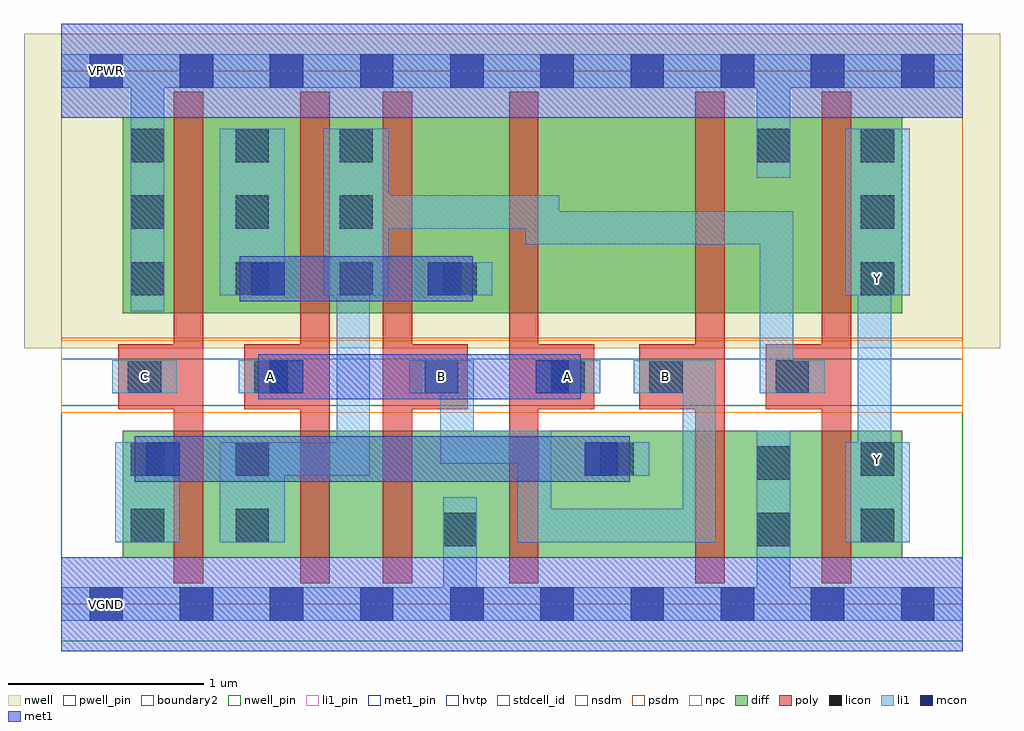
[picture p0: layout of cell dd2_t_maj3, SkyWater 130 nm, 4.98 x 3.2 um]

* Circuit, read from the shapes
.subckt dd2_t_maj3 A B C VGND VNB VPB VPWR Y
XM1 n1 C n2 VNB sky130_fd_pr__nfet_01v8 w=0.65 l=0.15
XM2 n3 A n1 VNB sky130_fd_pr__nfet_01v8 w=0.65 l=0.15
XM3 VGND B n3 VNB sky130_fd_pr__nfet_01v8 w=0.65 l=0.15
XM4 n2 A VGND VNB sky130_fd_pr__nfet_01v8 w=0.65 l=0.15
XM5 VGND B n2 VNB sky130_fd_pr__nfet_01v8 w=0.65 l=0.15
XM6 Y n1 VGND VNB sky130_fd_pr__nfet_01v8 w=0.65 l=0.15
XM7 n4 C VPWR VPB sky130_fd_pr__pfet_01v8_hvt w=1 l=0.15
XM8 n1 A n4 VPB sky130_fd_pr__pfet_01v8_hvt w=1 l=0.15
XM9 n4 B n1 VPB sky130_fd_pr__pfet_01v8_hvt w=1 l=0.15
XM10 n5 A n4 VPB sky130_fd_pr__pfet_01v8_hvt w=1 l=0.15
XM11 VPWR B n5 VPB sky130_fd_pr__pfet_01v8_hvt w=1 l=0.15
XM12 Y n1 VPWR VPB sky130_fd_pr__pfet_01v8_hvt w=1 l=0.15
.ends

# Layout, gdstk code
import gdstk
lib = gdstk.Library(unit=1e-6, precision=1e-09)
def R(c, l, rs):  # rectangles x0, y0, x1, y1
    for r in rs: c.add(gdstk.rectangle(r[:2], r[2:], *l))
def A(c, l, x, y, w, h, nx, ny, dx, dy):  # array of equal rectangles
    R(c, l, [(x+i*dx, y+j*dy, x+i*dx+w, y+j*dy+h) for i in range(nx) for j in range(ny)])
nwell_pin = (64, 16)
nwell = (64, 20)
diff = (65, 20)
poly = (66, 20)
licon = (66, 44)
li1_pin = (67, 16)
li1 = (67, 20)
mcon = (67, 44)
met1_pin = (68, 16)
met1 = (68, 20)
hvtp = (78, 44)
stdcell_id = (81, 4)
nsdm = (93, 44)
psdm = (94, 20)
npc = (95, 20)
pwell_pin = (122, 16)
boundary2 = (236, 0)

dd2_t_maj3 = lib.new_cell('dd2_t_maj3')
R(dd2_t_maj3, nwell_pin, [(0.145,2.635,0.315,2.805)])
R(dd2_t_maj3, nwell, [(-0.19,1.305,4.79,2.91)])
R(dd2_t_maj3, diff, [(0.315,0.235,0.97,0.885), (0.97,0.235,1.505,0.885), (1.505,0.235,2.035,0.885), (2.035,0.235,2.835,0.885), (2.835,0.235,3.63,0.885), (3.63,0.235,4.29,0.885), (0.315,1.485,0.97,2.485), (0.97,1.485,1.505,2.485), (1.505,1.485,2.035,2.485), (2.035,1.485,2.835,2.485), (2.835,1.485,3.63,2.485), (3.63,1.485,4.29,2.485)])
R(dd2_t_maj3, poly, [(0.575,0.105,0.725,2.615), (1.22,0.105,1.37,2.615), (1.64,0.105,1.79,2.615), (2.285,0.105,2.435,2.615), (3.235,0.105,3.385,2.615), (3.88,0.105,4.03,2.615), (0.29,0.995,0.725,1.325), (0.935,0.995,1.37,1.325), (1.64,0.995,2.075,1.325), (2.285,0.995,2.72,1.325), (2.95,0.995,3.385,1.325), (3.595,0.995,4.03,1.325)])
A(dd2_t_maj3, licon, 0.355, 1.575, 0.17, 0.17, 1, 3, 0, 0.34)
A(dd2_t_maj3, licon, 0.89, 1.575, 0.17, 0.17, 3, 1, 0.53, 0)
A(dd2_t_maj3, licon, 4.08, 1.575, 0.17, 0.17, 1, 3, 0, 0.34)
R(dd2_t_maj3, licon, [(1.95,0.295,2.12,0.465), (3.55,0.295,3.72,0.465), (0.355,0.315,0.525,0.485), (0.89,0.315,1.06,0.485), (4.08,0.315,4.25,0.485), (3.55,0.635,3.72,0.805), (0.355,0.655,0.525,0.825), (0.89,0.655,1.06,0.825), (2.75,0.655,2.92,0.825), (4.08,0.655,4.25,0.825), (0.34,1.075,0.51,1.245), (0.985,1.075,1.155,1.245), (1.855,1.075,2.025,1.245), (2.5,1.075,2.67,1.245), (3,1.075,3.17,1.245), (3.645,1.075,3.815,1.245), (0.89,1.915,1.06,2.085), (1.42,1.915,1.59,2.085), (0.89,2.255,1.06,2.425), (1.42,2.255,1.59,2.425), (3.55,2.255,3.72,2.425)])
R(dd2_t_maj3, li1_pin, [(4.08,0.655,4.25,0.825), (0.34,1.075,0.51,1.245), (0.985,1.075,1.155,1.245), (1.855,1.075,2.025,1.245), (2.5,1.075,2.67,1.245), (3,1.075,3.17,1.245), (4.08,1.575,4.25,1.745)])
A(dd2_t_maj3, li1, 0.81, 1.575, 0.33, 0.17, 3, 1, 0.53, 0)
R(dd2_t_maj3, li1, [(0,-0.085,4.6,0.085), (1.95,-0.085,2.12,0.545), (3.55,-0.085,3.72,0.545), (3.55,0.295,3.72,0.885), (0.275,0.315,0.605,0.825), (0.81,0.315,1.14,0.825), (2.33,0.315,2.5,0.885), (2.33,0.315,3.34,0.485), (3.17,0.315,3.34,1.245), (4,0.315,4.33,0.825), (0.275,0.655,0.605,0.825), (0.81,0.655,1.14,0.825), (0.97,0.655,1.575,0.825), (1.405,0.655,1.575,1.745), (2.67,0.655,3,0.825), (4,0.655,4.33,0.825), (4.065,0.655,4.235,1.745), (1.935,0.715,2.105,1.245), (1.935,0.715,2.5,0.885), (0.26,1.075,0.59,1.245), (0.905,1.075,1.235,1.245), (1.775,1.075,2.105,1.245), (2.42,1.075,2.75,1.245), (2.92,1.075,3.25,1.245), (3.08,1.075,3.34,1.245), (3.565,1.075,3.895,1.245), (3.565,1.075,3.735,2.005), (0.355,1.495,0.525,2.085), (0.81,1.575,1.14,2.085), (1.34,1.575,1.67,2.085), (1.5,1.575,1.67,2.085), (4,1.575,4.33,1.745), (4,1.575,4.33,2.085), (0.355,1.835,0.525,2.425), (2.37,1.835,3.735,2.005), (2.37,1.835,2.54,2.085), (0.81,1.915,1.14,2.425), (1.34,1.915,1.67,2.425), (1.5,1.915,2.54,2.085), (4,1.915,4.33,2.425), (0.355,2.085,0.525,2.175), (0.355,2.085,0.525,2.175), (0.355,2.085,0.525,2.175), (0.355,2.085,0.525,2.175), (0.355,2.175,0.525,2.805), (3.55,2.175,3.72,2.805), (0,2.635,4.6,2.805)])
A(dd2_t_maj3, mcon, 0.145, -0.085, 0.17, 0.17, 10, 2, 0.46, 2.72)
R(dd2_t_maj3, mcon, [(0.435,0.655,0.605,0.825), (2.67,0.655,2.84,0.825), (1.065,1.075,1.235,1.245), (2.42,1.075,2.59,1.245), (0.97,1.575,1.14,1.745), (1.87,1.575,2.04,1.745)])
R(dd2_t_maj3, met1_pin, [(0.145,-0.085,0.315,0.085), (0.145,2.635,0.315,2.805)])
R(dd2_t_maj3, met1, [(0,-0.24,4.6,0.24), (0.375,0.625,0.665,0.855), (0.405,0.625,2.87,0.855), (2.61,0.625,2.9,0.855), (1.005,1.045,1.295,1.275), (1.035,1.045,2.62,1.275), (2.36,1.045,2.65,1.275), (0.91,1.545,1.2,1.775), (0.94,1.545,2.07,1.775), (1.81,1.545,2.1,1.775), (0,2.48,4.6,2.96)])
R(dd2_t_maj3, hvtp, [(0,1.25,4.6,2.72)])
R(dd2_t_maj3, stdcell_id, [(0,0,4.6,2.72)])
R(dd2_t_maj3, nsdm, [(0,-0.19,4.6,1.015)])
R(dd2_t_maj3, psdm, [(0,1.355,4.6,2.91)])
R(dd2_t_maj3, npc, [(0,0.975,4.6,1.345)])
R(dd2_t_maj3, pwell_pin, [(0.145,-0.085,0.315,0.085)])
R(dd2_t_maj3, boundary2, [(0,0,4.6,2.72)])
dd2_t_maj3.add(gdstk.Label('A', (1.07,1.16), layer=67, texttype=5))
dd2_t_maj3.add(gdstk.Label('A', (2.585,1.16), layer=67, texttype=5))
dd2_t_maj3.add(gdstk.Label('B', (1.94,1.16), layer=67, texttype=5))
dd2_t_maj3.add(gdstk.Label('B', (3.085,1.16), layer=67, texttype=5))
dd2_t_maj3.add(gdstk.Label('C', (0.425,1.16), layer=67, texttype=5))
dd2_t_maj3.add(gdstk.Label('Y', (4.165,0.74), layer=67, texttype=5))
dd2_t_maj3.add(gdstk.Label('Y', (4.165,1.66), layer=67, texttype=5))
dd2_t_maj3.add(gdstk.Label('VGND', (0.23,0), layer=68, texttype=5))
dd2_t_maj3.add(gdstk.Label('VPWR', (0.23,2.72), layer=68, texttype=5))
dd2_t_maj3.add(gdstk.Label('VPB', (0.23,2.72), layer=64, texttype=5))
dd2_t_maj3.add(gdstk.Label('VNB', (0.23,0), layer=64, texttype=59))

lib.write_gds('dd2_t_maj3.gds')
